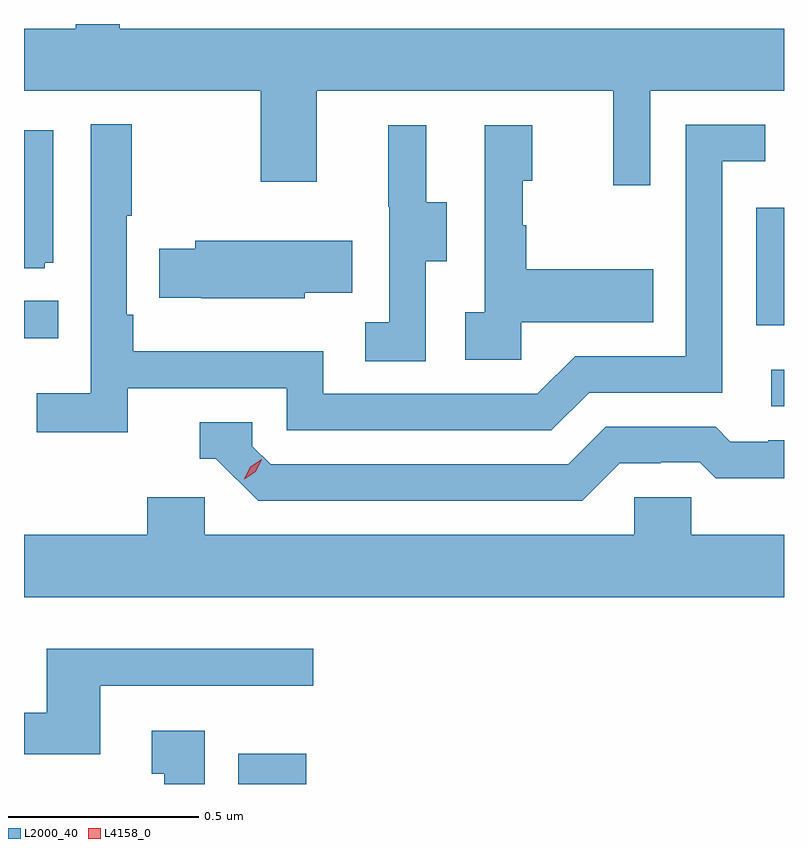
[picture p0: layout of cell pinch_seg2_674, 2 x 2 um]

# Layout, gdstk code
import gdstk
lib = gdstk.Library(unit=1e-6, precision=1e-09)
def R(c, l, rs):  # rectangles x0, y0, x1, y1
    for r in rs: c.add(gdstk.rectangle(r[:2], r[2:], *l))
def P(c, l, *ps):  # polygons
    for p in ps: c.add(gdstk.Polygon(p, *l))
L2000_40 = (2000, 40)
L4158_0 = (4158, 0)

pinch_seg2_674 = lib.new_cell('pinch_seg2_674')
R(pinch_seg2_674, L2000_40, [(1043.333,588.536,1043.512,588.616), (1044.735,589.53,1044.769,589.626), (1042.769,589.709,1042.859,589.808), (1044.696,589.743,1044.769,590.052)])
P(pinch_seg2_674, L2000_40, [(1044.417,590.36),(1044.769,590.36),(1044.769,590.524),(1043.021,590.524),(1043.021,590.536),(1042.905,590.536),(1042.905,590.524),(1042.769,590.524),(1042.769,590.36),(1043.392,590.36),(1043.392,590.121),(1043.539,590.121),(1043.539,590.36),(1044.32,590.36),(1044.32,590.112),(1044.417,590.112)],
  [(1043.042,589.578),(1043.46,589.578),(1043.46,589.467),(1044.157,589.467),(1044.256,589.566),(1044.606,589.566),(1044.606,590.175),(1044.719,590.175),(1044.719,590.271),(1044.51,590.271),(1044.51,589.662),(1044.219,589.662),(1044.12,589.563),(1043.556,589.563),(1043.556,589.675),(1043.057,589.675),(1043.057,589.771),(1043.04,589.771),(1043.04,590.032),(1043.053,590.032),(1043.053,590.272),(1042.944,590.272),(1042.944,589.564),(1042.803,589.564),(1042.803,589.462),(1043.042,589.462)],
  [(1044.078,589.751),(1044.425,589.751),(1044.425,589.891),(1044.091,589.891),(1044.091,590.006),(1044.081,590.006),(1044.081,590.124),(1044.106,590.124),(1044.106,590.269),(1043.982,590.269),(1043.982,589.778),(1043.93,589.778),(1043.93,589.653),(1044.078,589.653)],
  [(1043.826,589.912),(1043.881,589.912),(1043.881,590.067),(1043.827,590.067),(1043.827,590.269),(1043.728,590.269),(1043.728,590.055),(1043.73,590.055),(1043.73,589.751),(1043.667,589.751),(1043.667,589.648),(1043.826,589.648)],
  [(1042.824,589.908),(1042.846,589.908),(1042.846,590.257),(1042.769,590.257),(1042.769,589.893),(1042.824,589.893)],
  [(1043.508,589.829),(1043.633,589.829),(1043.633,589.966),(1043.219,589.966),(1043.219,589.944),(1043.125,589.944),(1043.125,589.815),(1043.236,589.815),(1043.236,589.814),(1043.508,589.814)],
  [(1044.337,589.38),(1044.444,589.38),(1044.444,589.383),(1044.547,589.383),(1044.589,589.341),(1044.769,589.341),(1044.769,589.44),(1044.727,589.44),(1044.727,589.437),(1044.628,589.437),(1044.589,589.476),(1044.3,589.476),(1044.201,589.377),(1043.418,589.377),(1043.37,589.425),(1043.37,589.488),(1043.231,589.488),(1043.231,589.392),(1043.274,589.392),(1043.385,589.281),(1044.238,589.281)],
  [(1044.769,589.192),(1044.525,589.192),(1044.525,589.29),(1044.375,589.29),(1044.375,589.192),(1043.244,589.192),(1043.244,589.29),(1043.093,589.29),(1043.093,589.192),(1042.769,589.192),(1042.769,589.028),(1044.769,589.028)],
  [(1042.969,588.795),(1043.53,588.795),(1043.53,588.892),(1042.829,588.892),(1042.829,588.724),(1042.769,588.724),(1042.769,588.614),(1042.969,588.614)],
  [(1043.245,588.676),(1043.105,588.676),(1043.105,588.563),(1043.138,588.563),(1043.138,588.536),(1043.245,588.536)])
P(pinch_seg2_674, L4158_0, [(1043.348,589.338),(1043.348,589.338),(1043.364,589.371),(1043.394,589.391),(1043.394,589.391),(1043.394,589.39),(1043.379,589.358),(1043.349,589.338)])

lib.write_gds('pinch_seg2_674.gds')
